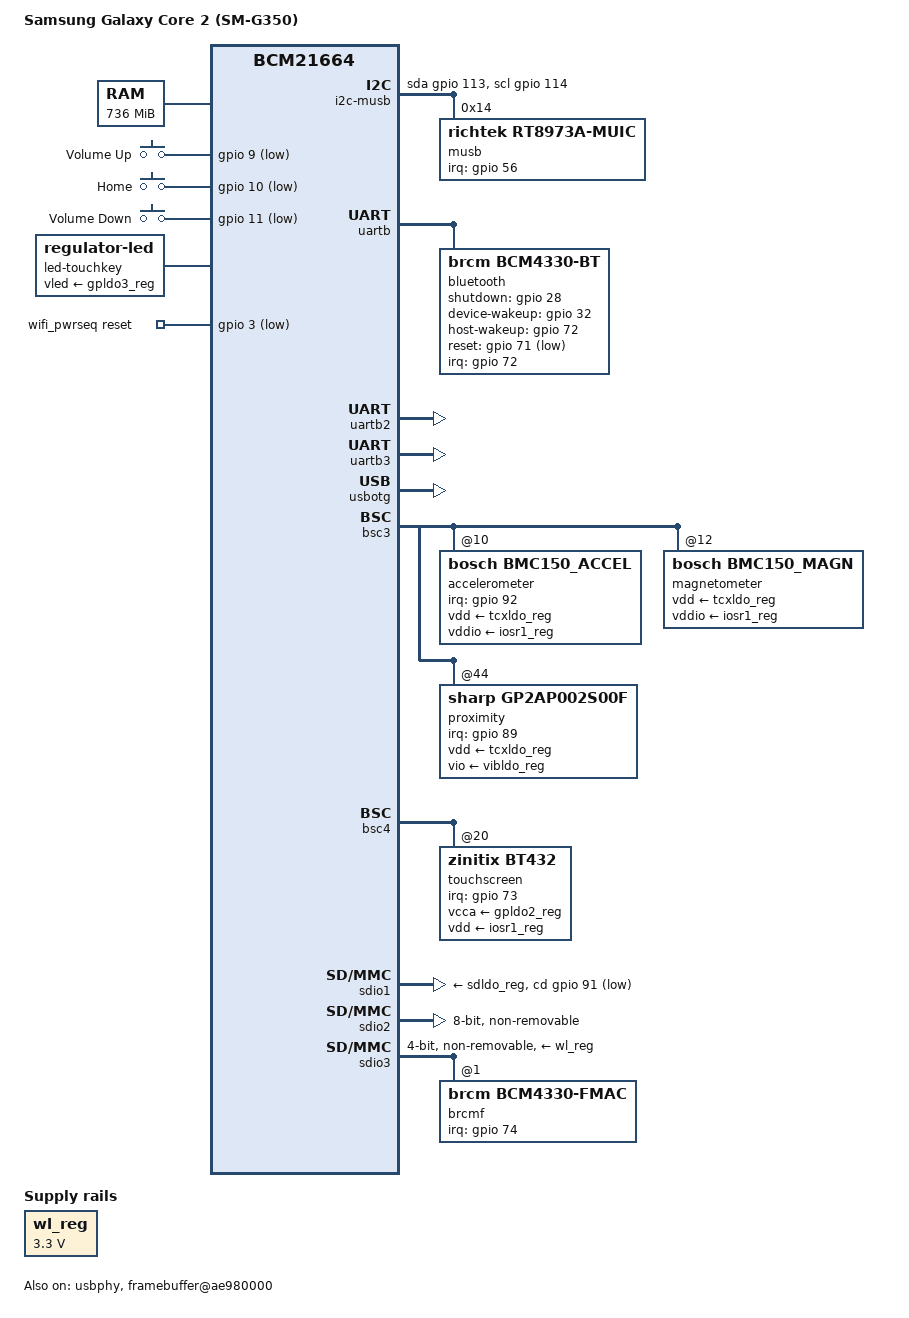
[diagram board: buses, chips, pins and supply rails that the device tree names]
// SPDX-License-Identifier: GPL-2.0-only
/*
 * Device tree for Samsung Galaxy Core 2 (SM-G350, cs02 rev02).
 *
 * Copyright (c) 2025 The Linux Kernel Authors
 */

/dts-v1/;

#include <dt-bindings/gpio/gpio.h>
#include <dt-bindings/input/input.h>
#include <dt-bindings/leds/common.h>

#include "bcm21664.dtsi"

/ {
	model = "Samsung Galaxy Core 2 (SM-G350)";
	compatible = "samsung,cs02", "brcm,bcm21664";
	chassis-type = "handset";

	aliases {
		mmc0 = &sdio2;  /* Internal storage */
		mmc1 = &sdio1;  /* SD card */
		mmc2 = &sdio3;  /* WiFi SDIO */
		serial0 = &uartb;
		serial1 = &uartb2;
		serial2 = &uartb3;
	};

	chosen {
		stdout-path = "serial2:115200n8";
	};

	memory@80000000 {
		device_type = "memory";
		reg = <0x80000000 0x2e000000>; /* 736 MB */
	};

	reserved-memory {
		#address-cells = <1>;
		#size-cells = <1>;
		ranges;

		secure_mem: secure-mem@9d800000 {
			reg = <0x9d800000 0x100000>;
			no-map;
		};

		mobicore: mobicore@9d900000 {
			reg = <0x9d900000 0x300000>;
			no-map;
		};

		simplefb: framebuffer@ae980000 {
			reg = <0xae980000 (480 * 800 * 4)>;
			no-map;
		};
	};

	/* Hardware buttons */
	gpio-keys {
		compatible = "gpio-keys";

		key-volume-up {
			label = "Volume Up";
			gpios = <&gpio 9 GPIO_ACTIVE_LOW>;
			linux,code = <KEY_VOLUMEUP>;
		};

		key-home {
			label = "Home";
			gpios = <&gpio 10 GPIO_ACTIVE_LOW>;
			linux,code = <KEY_HOMEPAGE>;
		};

		key-volume-down {
			label = "Volume Down";
			gpios = <&gpio 11 GPIO_ACTIVE_LOW>;
			linux,code = <KEY_VOLUMEDOWN>;
		};
	};

	/* Touchkey backlight LED */
	led-touchkey {
		compatible = "regulator-led";
		vled-supply = <&gpldo3_reg>;
		color = <LED_COLOR_ID_WHITE>;
		function = LED_FUNCTION_KBD_BACKLIGHT;
	};

	/* USB switch via GPIO I2C */
	i2c-musb {
		#address-cells = <1>;
		#size-cells = <0>;
		compatible = "i2c-gpio";
		sda-gpios = <&gpio 113 (GPIO_ACTIVE_HIGH | GPIO_OPEN_DRAIN)>;
		scl-gpios = <&gpio 114 (GPIO_ACTIVE_HIGH | GPIO_OPEN_DRAIN)>;
		i2c-gpio,delay-us = <2>;

		musb@14 {
			compatible = "richtek,rt8973a-muic";
			reg = <0x14>;
			interrupt-parent = <&gpio>;
			interrupts = <56 IRQ_TYPE_LEVEL_HIGH>;
		};
	};

	/*
	 * Fixed 3.3 V supply for the SDIO3 bus.  Advertising 3.3 V causes
	 * sdhci_set_power_noreg() (called via .set_power =
	 * sdhci_set_power_and_bus_voltage in the kona SDHCI driver) to write
	 * SDHCI_POWER_330 | SDHCI_POWER_ON into the bus-power register.
	 * The downstream kona driver always wrote that value; omitting the
	 * voltage-select bits leaves BCM21664 SDHCI3 in an undefined bus-power
	 * state where it will not drive CMD5, so the BCM4330 is never found.
	 *
	 * This regulator is always-on (no GPIO) so that the SDHCI bus is
	 * powered before WL_REG_ON is asserted.  The BCM4330 requires SDIO
	 * bus power to be present when it initializes its SDIO interface;
	 * if WL_REG_ON goes HIGH before the bus is powered the chip's SDIO
	 * I/O cells do not latch correctly and CMD5 times out.  WL_REG_ON
	 * is instead sequenced by wifi_pwrseq below.
	 */
	wl_reg: regulator-wlan {
		compatible = "regulator-fixed";
		regulator-name = "WL_REG_ON";
		regulator-min-microvolt = <3300000>;
		regulator-max-microvolt = <3300000>;
		regulator-always-on;
	};

	/*
	 * mmc-pwrseq-simple for the BCM4330 WiFi chip.
	 *
	 * reset-gpios is ACTIVE_LOW so that the pwrseq driver drives GPIO 3
	 * LOW (chip held in reset) during probe, then releases it HIGH (chip
	 * powered and running) inside mmc_pwrseq_post_power_on() — which is
	 * called after the SDIO bus is powered — and waits 250 ms.  This
	 * matches the downstream __wifi_reset() timing and guarantees the
	 * correct bus-power → WL_REG_ON → delay → CMD5 sequence.
	 *
	 * The kona peripheral clock driver marks all SDIO clocks
	 * CLK_IGNORE_UNUSED, so clk_disable_unused() never gates the SDIO3
	 * clock even if the controller's probe is deferred until after
	 * late_initcall().
	 */
	wifi_pwrseq: wifi-pwrseq {
		compatible = "mmc-pwrseq-simple";
		reset-gpios = <&gpio 3 GPIO_ACTIVE_LOW>;
		post-power-on-delay-ms = <250>;
	};

	/* Simple framebuffer for display output (bootloader-initialized NT35510) */
	framebuffer@ae980000 {
		compatible = "simple-framebuffer";
		reg = <0xae980000 (480 * 800 * 4)>;
		width = <480>;
		height = <800>;
		stride = <(480 * 4)>;
		format = "a8r8g8b8";
		status = "okay";
	};
};

/* Bluetooth UART */
&uartb {
	status = "okay";
	clock-frequency = <48000000>;

	bluetooth {
		compatible = "brcm,bcm4330-bt";

		shutdown-gpios = <&gpio 28 GPIO_ACTIVE_HIGH>;
		device-wakeup-gpios = <&gpio 32 GPIO_ACTIVE_HIGH>;
		host-wakeup-gpios = <&gpio 72 GPIO_ACTIVE_HIGH>;
		reset-gpios = <&gpio 71 GPIO_ACTIVE_LOW>;
		interrupt-parent = <&gpio>;
		interrupts = <72 IRQ_TYPE_EDGE_FALLING>;
	};
};

/* GPS UART */
&uartb2 {
	status = "okay";
	clock-frequency = <26000000>;
};

/* Console UART */
&uartb3 {
	status = "okay";
	clock-frequency = <26000000>;
};

&usbotg {
	vusb_d-supply = <&usbldo_reg>;
	vusb_a-supply = <&iosr1_reg>;
	status = "okay";
};

&usbphy {
	status = "okay";
};

/* Sensors: accelerometer, magnetometer, proximity */
&bsc3 {
	clock-frequency = <400000>;

	pinctrl-0 = <&bsc3_pins>;
	pinctrl-names = "default";

	status = "okay";

	accelerometer@10 {
		compatible = "bosch,bmc150_accel";
		reg = <0x10>;

		interrupt-parent = <&gpio>;
		interrupts = <92 IRQ_TYPE_EDGE_RISING>;

		vdd-supply = <&tcxldo_reg>;
		vddio-supply = <&iosr1_reg>;
	};

	magnetometer@12 {
		compatible = "bosch,bmc150_magn";
		reg = <0x12>;

		vdd-supply = <&tcxldo_reg>;
		vddio-supply = <&iosr1_reg>;
	};

	proximity@44 {
		compatible = "sharp,gp2ap002s00f";
		reg = <0x44>;

		interrupt-parent = <&gpio>;
		interrupts = <89 IRQ_TYPE_EDGE_FALLING>;

		vdd-supply = <&tcxldo_reg>; /* SENSOR_3.3V */
		vio-supply = <&vibldo_reg>; /* SENSOR_LED_3.3V */

		sharp,proximity-far-hysteresis = /bits/ 8 <0x2f>;
		sharp,proximity-close-hysteresis = /bits/ 8 <0x0c>;
	};
};

/* Touchscreen */
&bsc4 {
	clock-frequency = <400000>;

	pinctrl-0 = <&bsc4_pins>;
	pinctrl-names = "default";

	status = "okay";

	touchscreen@20 {
		compatible = "zinitix,bt432";
		reg = <0x20>;

		interrupt-parent = <&gpio>;
		interrupts = <73 IRQ_TYPE_EDGE_FALLING>;

		vcca-supply = <&gpldo2_reg>;
		vdd-supply = <&iosr1_reg>;

		touchscreen-size-x = <480>;
		touchscreen-size-y = <800>;

		linux,keycodes = <KEY_MENU KEY_BACK>;
	};
};

/* PMU */
&pmu_bsc {
	clock-frequency = <3400000>;

	pinctrl-0 = <&pmbsc_pins>;
	pinctrl-names = "default";

	status = "okay";

	pmu: pmu@8 {
		compatible = "brcm,bcm59054";
		reg = <0x08>;
		interrupt-parent = <&gpio>;
		interrupts = <29 IRQ_TYPE_EDGE_FALLING>;

		regulators {
			rfldo_reg: rfldo {
				regulator-min-microvolt = <1300000>;
				regulator-max-microvolt = <3300000>;
				regulator-always-on;
			};

			camldo1_reg: camldo1 {
				regulator-min-microvolt = <1300000>;
				regulator-max-microvolt = <3300000>;
				regulator-always-on;
			};

			camldo2_reg: camldo2 {
				regulator-min-microvolt = <1300000>;
				regulator-max-microvolt = <3300000>;
				regulator-always-on;
			};

			simldo1_reg: simldo1 {
				regulator-min-microvolt = <1300000>;
				regulator-max-microvolt = <3300000>;
			};

			simldo2_reg: simldo2 {
				regulator-min-microvolt = <1300000>;
				regulator-max-microvolt = <3300000>;
			};

			sdldo_reg: sdldo {
				regulator-min-microvolt = <1300000>;
				regulator-max-microvolt = <3300000>;
			};

			sdxldo_reg: sdxldo {
				regulator-min-microvolt = <1300000>;
				regulator-max-microvolt = <3300000>;
			};

			mmcldo1_reg: mmcldo1 {
				regulator-min-microvolt = <1300000>;
				regulator-max-microvolt = <3300000>;
			};

			mmcldo2_reg: mmcldo2 {
				regulator-min-microvolt = <1300000>;
				regulator-max-microvolt = <3300000>;
			};

			audldo_reg: audldo {
				regulator-min-microvolt = <1300000>;
				regulator-max-microvolt = <3300000>;
				regulator-always-on;
			};

			usbldo_reg: usbldo {
				regulator-min-microvolt = <1300000>;
				regulator-max-microvolt = <3300000>;
			};

			micldo_reg: micldo {
				regulator-min-microvolt = <1800000>;
				regulator-max-microvolt = <1800000>;
			};

			vibldo_reg: vibldo {
				regulator-min-microvolt = <1300000>;
				regulator-max-microvolt = <3300000>;
			};

			gpldo1_reg: gpldo1 {
				regulator-min-microvolt = <1200000>;
				regulator-max-microvolt = <3300000>;
			};

			gpldo2_reg: gpldo2 {
				regulator-min-microvolt = <1200000>;
				regulator-max-microvolt = <3300000>;
			};

			gpldo3_reg: gpldo3 {
				/* 3.3 V required for touchkey backlight LED */
				regulator-min-microvolt = <3300000>;
				regulator-max-microvolt = <3300000>;
			};

			tcxldo_reg: tcxldo {
				regulator-min-microvolt = <1300000>;
				regulator-max-microvolt = <3300000>;
				regulator-always-on;
			};

			lvldo1_reg: lvldo1 {
				regulator-min-microvolt = <1000000>;
				regulator-max-microvolt = <1800000>;
			};

			lvldo2_reg: lvldo2 {
				regulator-min-microvolt = <1000000>;
				regulator-max-microvolt = <1800000>;
			};

			vsr_reg: vsr {
				regulator-min-microvolt = <860000>;
				regulator-max-microvolt = <1800000>;
			};

			csr_reg: csr {
				regulator-min-microvolt = <700000>;
				regulator-max-microvolt = <1440000>;
				regulator-always-on;
			};

			mmsr_reg: mmsr {
				regulator-min-microvolt = <860000>;
				regulator-max-microvolt = <1800000>;
				regulator-always-on;
			};

			sdsr1_reg: sdsr1 {
				regulator-min-microvolt = <860000>;
				regulator-max-microvolt = <1800000>;
				regulator-always-on;
			};

			sdsr2_reg: sdsr2 {
				regulator-min-microvolt = <860000>;
				regulator-max-microvolt = <1800000>;
				regulator-always-on;
			};

			iosr1_reg: iosr1 {
				regulator-min-microvolt = <860000>;
				regulator-max-microvolt = <1800000>;
				regulator-always-on;
			};

			iosr2_reg: iosr2 {
				regulator-min-microvolt = <860000>;
				regulator-max-microvolt = <1800000>;
			};
		};
	};
};

/* SD card */
&sdio1 {
	max-frequency = <48000000>;

	cd-gpios = <&gpio 91 (GPIO_ACTIVE_LOW | GPIO_PULL_UP)>;
	vmmc-supply = <&sdldo_reg>;
	vqmmc-supply = <&sdxldo_reg>;

	/* Disable UHS/DDR50 - kona SDHCI is unreliable in 1.8V modes */
	no-1-8-v;

	pinctrl-0 = <&sd_width4_pins>;
	pinctrl-names = "default";

	status = "okay";
};

/* Internal storage */
&sdio2 {
	max-frequency = <52000000>;

	keep-power-in-suspend;
	non-removable;
	bus-width = <8>;

	pinctrl-0 = <&mmc0_width8_pins>;
	pinctrl-names = "default";

	status = "okay";
};

/* WiFi */
&sdio3 {
	max-frequency = <48000000>;

	/* WL_REG_ON regulator; 3.3 V advertised so SDHCI uses SDHCI_POWER_330 */
	vmmc-supply = <&wl_reg>;
	/* GPIO 3 (WL_REG_ON) sequenced by wifi_pwrseq after bus power is on */
	mmc-pwrseq = <&wifi_pwrseq>;

	#address-cells = <1>;
	#size-cells = <0>;

	pinctrl-0 = <&mmc1_width4_pins>;
	pinctrl-names = "default";

	bus-width = <4>;
	keep-power-in-suspend;
	non-removable;
	no-sd;
	no-mmc;

	status = "okay";

	brcmf: wifi@1 {
		compatible = "brcm,bcm4330-fmac", "brcm,bcm4329-fmac";
		reg = <1>;

		/* brcmfmac looks for firmware at:
		 *   /lib/firmware/brcm/brcmfmac4330-sdio.samsung,cs02.bin
		 *   /lib/firmware/brcm/brcmfmac4330-sdio.samsung,cs02.txt
		 */
		brcm,board-type = "samsung,cs02";

		interrupt-parent = <&gpio>;
		interrupts = <74 IRQ_TYPE_EDGE_FALLING>;
		interrupt-names = "host-wake";
	};
};
